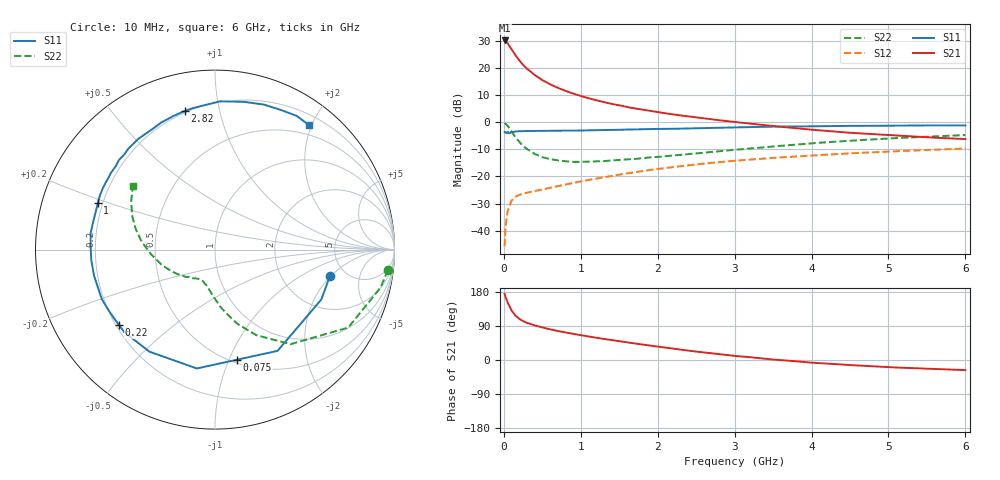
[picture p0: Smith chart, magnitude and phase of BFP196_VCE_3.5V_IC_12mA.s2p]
! Infineon Technologies  Discrete & RF Semiconductors
! BFP196
! VCE = 3.5 V,  IC =  12mA
! Common Emitter S-Parameters:  Jan 2016
# GHz  S  MA  R  50
!  f  S11  S21  S12  S22
! GHz  MAG  ANG  MAG  ANG  MAG  ANG  MAG  ANG
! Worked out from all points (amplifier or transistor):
!   210 points, 10 MHz to 6 GHz, reference 50 ohm
!   highest |S21| = 30.1 dB at 10 MHz (marker M1)
!   |S21| within 3 dB of that: start of sweep to 95.02 MHz
!   unconditionally stable (mu >= 1): 814.8 MHz to 3.38 GHz
!   at 185 MHz: K = 0.35, MSG = 25.2 dB, |S12| = -27.0 dB
!   at 1.52 GHz: K = 1.13, MAG = 10.4 dB, |S12| = -19.2 dB
!   at 6 GHz: K = 0.98, MSG = 1.7 dB, |S12| = -9.7 dB
!   S11 on the Smith chart (normalised r, x): 10 MHz: 3.77, -1.95; 75 MHz: 0.53, -1.07; 220 MHz: 0.21, -0.33; 1 GHz: 0.18, +0.18; 2.82 GHz: 0.19, +0.79; 6 GHz: 0.35, +1.96
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0.01  0.6573 -12.9  31.91 174.4  0.0052 85.9  0.9699 -6.7
0.02  0.6543 -25.2  30.97 167.1  0.0102 77.2  0.9472 -12.8
0.05  0.6632 -58.3  28.27 150.5  0.0229 64.9  0.8603 -30.3
0.075  0.6256 -78.6  24.81 141.6  0.029 55.4  0.7545 -39.6
0.1  0.6699 -98.7  22.13 130.2  0.0357 49.3  0.6743 -51.4
0.15  0.6759 -122.7  17.11 117.0  0.0423 40.9  0.5289 -64.3
0.2  0.6832 -137.7  13.74 108.5  0.0456 37.2  0.4318 -73.2
0.22  0.6799 -141.9  12.75 106.4  0.0467 36.5  0.404 -75.5
0.26  0.6822 -149.9  10.95 101.7  0.0487 35.4  0.3549 -80.5
0.3  0.6885 -156.4  9.614 97.9  0.0502 35.4  0.3209 -84.5
0.4  0.6895 -167.9  7.388 91.2  0.0538 35.9  0.2602 -92.2
0.5  0.6917 -175.3  5.937 85.8  0.0576 37.1  0.2265 -97.8
0.7  0.6991 172.3  4.296 76.3  0.0662 40.5  0.1973 -106.4
1  0.7027 158.4  3.023 65.4  0.0807 44.4  0.1856 -115.6
1.02  0.7037 157.6  2.969 64.8  0.0818 44.6  0.1859 -116.2
1.4  0.7205 143.6  2.169 52.7  0.1025 45.8  0.1964 -125.1
2.02  0.7506 124.2  1.51 34.8  0.1384 44.1  0.2299 -140.6
2.82  0.7906 102.4  1.075 15.0  0.1845 37.2  0.2922 -160.1
3.1  0.8024 96.2  0.972 9.1  0.1994 34.1  0.3173 -166.7
4.1  0.8407 77.3  0.708 -8.2  0.2473 23.3  0.4173 172.4
5.1  0.8621 63.5  0.566 -19.8  0.2911 12.1  0.5078 155.8
6  0.8691 52.9  0.488 -26.7  0.3266 1.7  0.5781 142.2
